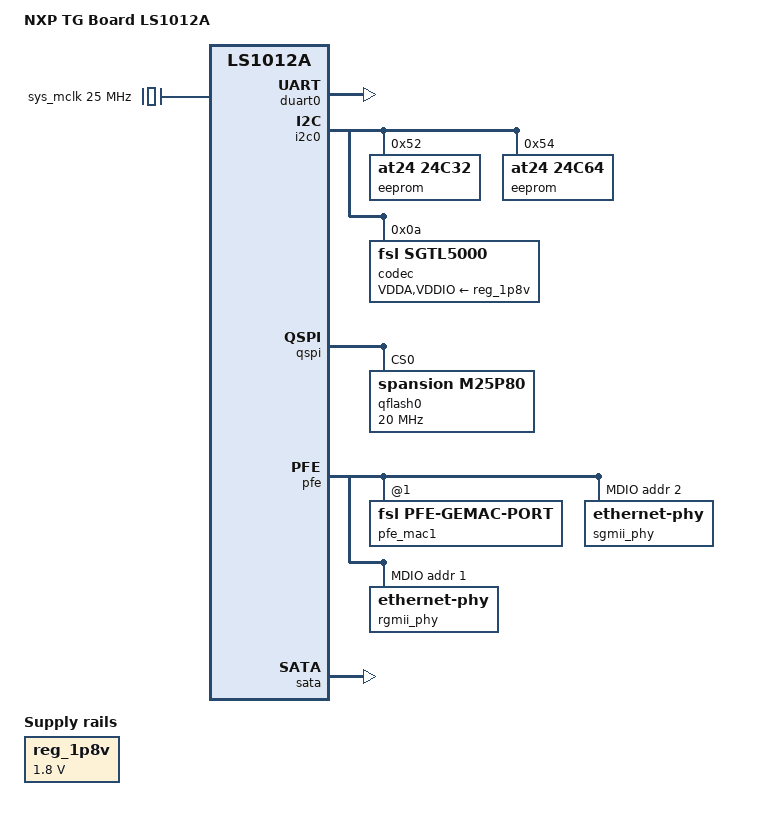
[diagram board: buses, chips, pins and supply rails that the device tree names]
/*
 * Device Tree file for Freescale LS1012A Freedom Board.
 *
 * Copyright 2016 Freescale Semiconductor, Inc.
 *
 * This file is dual-licensed: you can use it either under the terms
 * of the GPLv2 or the X11 license, at your option. Note that this dual
 * licensing only applies to this file, and not this project as a
 * whole.
 *
 *  a) This library is free software; you can redistribute it and/or
 *     modify it under the terms of the GNU General Public License as
 *     published by the Free Software Foundation; either version 2 of the
 *     License, or (at your option) any later version.
 *
 *     This library is distributed in the hope that it will be useful,
 *     but WITHOUT ANY WARRANTY; without even the implied warranty of
 *     MERCHANTABILITY or FITNESS FOR A PARTICULAR PURPOSE.  See the
 *     GNU General Public License for more details.
 *
 * Or, alternatively,
 *
 *  b) Permission is hereby granted, free of charge, to any person
 *     obtaining a copy of this software and associated documentation
 *     files (the "Software"), to deal in the Software without
 *     restriction, including without limitation the rights to use,
 *     copy, modify, merge, publish, distribute, sublicense, and/or
 *     sell copies of the Software, and to permit persons to whom the
 *     Software is furnished to do so, subject to the following
 *     conditions:
 *
 *     The above copyright notice and this permission notice shall be
 *     included in all copies or substantial portions of the Software.
 *
 *     THE SOFTWARE IS PROVIDED "AS IS", WITHOUT WARRANTY OF ANY KIND,
 *     EXPRESS OR IMPLIED, INCLUDING BUT NOT LIMITED TO THE WARRANTIES
 *     OF MERCHANTABILITY, FITNESS FOR A PARTICULAR PURPOSE AND
 *     NONINFRINGEMENT. IN NO EVENT SHALL THE AUTHORS OR COPYRIGHT
 *     HOLDERS BE LIABLE FOR ANY CLAIM, DAMAGES OR OTHER LIABILITY,
 *     WHETHER IN AN ACTION OF CONTRACT, TORT OR OTHERWISE, ARISING
 *     FROM, OUT OF OR IN CONNECTION WITH THE SOFTWARE OR THE USE OR
 *     OTHER DEALINGS IN THE SOFTWARE.
 */
/dts-v1/;

#include "fsl-ls1012a.dtsi"

/ {
	model = "NXP TG Board LS1012A";
	compatible = "fsl,ls1012a-frdm", "fsl,ls1012a";

	chosen {
		eeprom = "/sys/bus/nvmem/devices/0-00540/nvmem" ;
		bb1_eeprom = "/sys/bus/i2c/devices/0-0052/eeprom";
	};

	aliases {
		ethernet0 = &pfe_mac1;
		ethernet1 = &pfe_mac0;
	};

	sys_mclk: clock-mclk {
		compatible = "fixed-clock";
		#clock-cells = <0>;
		clock-frequency = <25000000>;
	};

	reg_1p8v: regulator-1p8v {
		compatible = "regulator-fixed";
		regulator-name = "1P8V";
		regulator-min-microvolt = <1800000>;
		regulator-max-microvolt = <1800000>;
		regulator-always-on;
	};

};

&duart0 {
	status = "okay";
};

&i2c0 {
	status = "okay";

	eeprom@52 {
	        compatible = "at24,24c32";
	         reg = <0x52>;
	};

	eeprom@54 {
	        compatible = "at24,24c64";
	         reg = <0x54>;
	 };

	codec: sgtl5000@a {
		#sound-dai-cells = <0>;
		compatible = "fsl,sgtl5000";
		reg = <0xa>;
		VDDA-supply = <&reg_1p8v>;
		VDDIO-supply = <&reg_1p8v>;
		clocks = <&sys_mclk>;
	};
};

&qspi {
	num-cs = <1>;
	bus-num = <0>;
	status = "okay";

	qflash0: s25fs512s@0 {
		compatible = "spansion,m25p80";
		#address-cells = <1>;
		#size-cells = <1>;
		m25p,fast-read;
		spi-max-frequency = <20000000>;
		spi-rx-bus-width = <1>;
	        spi-tx-bus-width = <1>;
		reg = <0>;
	};
};

&esdhc0 {
	broken-cd;
};

/delete-node/ &esdhc1;

&pfe {
	status = "okay";
	#address-cells = <1>;
	#size-cells = <0>;

	pfe_mac0: ethernet@0 {
		compatible = "fsl,pfe-gemac-port";
		status = "disabled";
		#address-cells = <1>;
		#size-cells = <0>;
		reg = <0x0>;	/* GEM_ID */
		fsl,mdio-mux-val = <0x0>;
		local-mac-address = [ 00 1A 2B 3C 4D 5E ];
		phy-mode = "sgmii";
		fsl,pfe-gemac-if-name = "nic1";
	};

	pfe_mac1: ethernet@1 {
		compatible = "fsl,pfe-gemac-port";
		#address-cells = <1>;
		#size-cells = <0>;
		reg = <0x1>;	/* GEM_ID */
		fsl,mdio-mux-val = <0x0>;
		local-mac-address = [ 00 AA BB CC DD EE ];
		phy-mode = "sgmii";
		phy-handle = <&sgmii_phy>;
		fsl,pfe-gemac-if-name = "nic0";

		mdio@0 {
			reg = <0x1>; /* enabled/disabled */
		};
	};

	mdio@0 {
		#address-cells = <1>;
		#size-cells = <0>;

		sgmii_phy: ethernet-phy@2 {
			reg = <0x2>;
		};

		rgmii_phy: ethernet-phy@1 {
			reg = <0x1>;
		};
	};
};

&sata {
	status = "okay";
};
